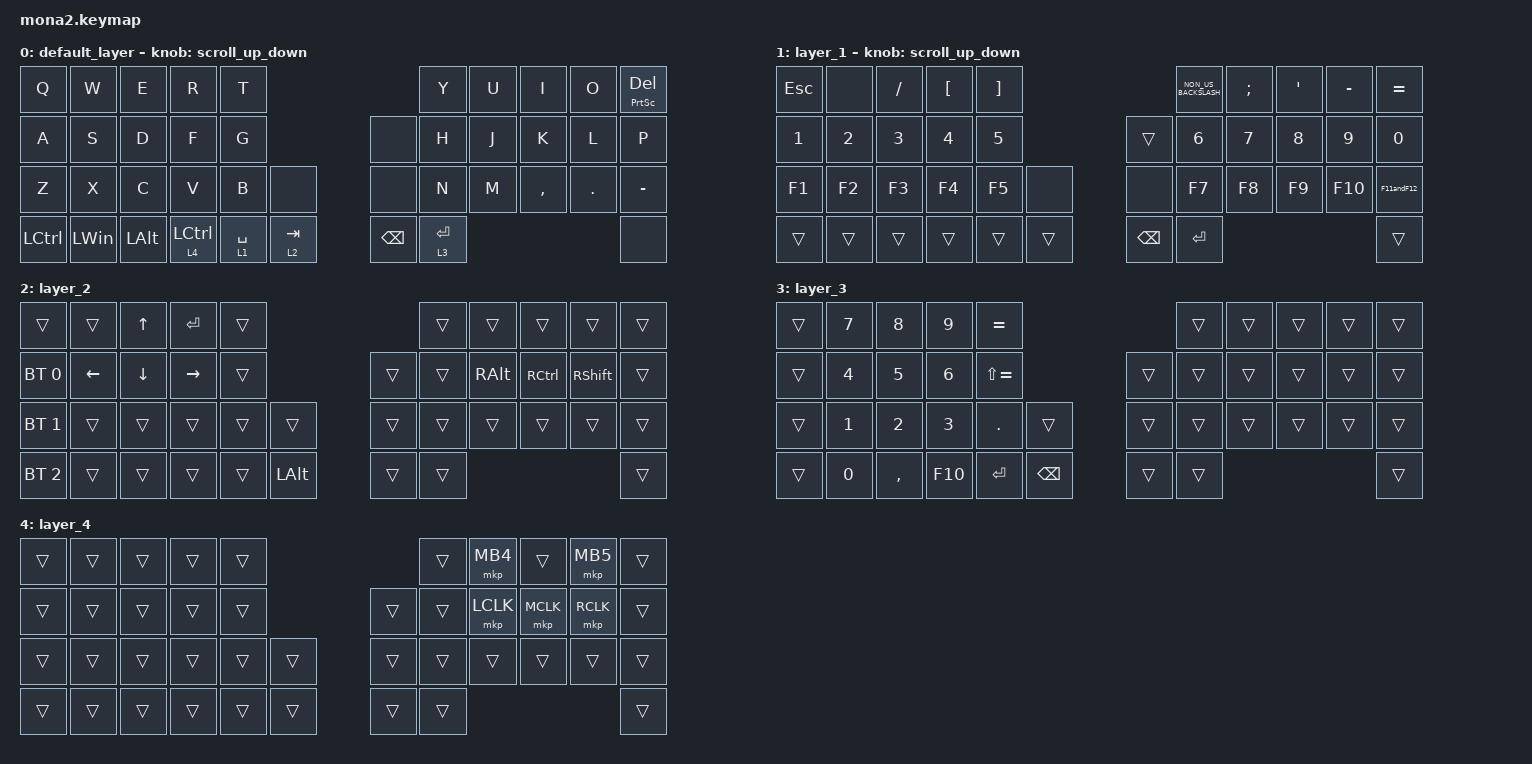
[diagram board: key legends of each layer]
#include <input/processors.dtsi>
#include <dt-bindings/zmk/input_transform.h>
#include <zephyr/dt-bindings/input/input-event-codes.h>
#include <behaviors.dtsi>
#include <dt-bindings/zmk/bt.h>
#include <dt-bindings/zmk/keys.h>
#include <dt-bindings/zmk/pointing.h>

#define ZMK_POINTING_DEFAULT_SCRL_VAL 100
#define MOUSE 5
#define SCROLL 6

&mt {
    flavor = "balanced";
    quick-tap-ms = <0>;
};

&lt {
    quick-tap-ms = <300>;
    flavor = "balanced";
};

/ {
    combos {
        compatible = "zmk,combos";

        leftctrl {
            bindings = <&kp LCTRL>;
            key-positions = <13 12>;
        };

        leftshift {
            bindings = <&kp LEFT_SHIFT>;
            key-positions = <11 12>;
        };

        rightctrl {
            bindings = <&kp RCTRL>;
            key-positions = <17 18>;
        };

        rightshift {
            bindings = <&kp RIGHT_SHIFT>;
            key-positions = <18 19>;
        };

        henkann {
            bindings = <&kp LS(CAPSLOCK)>;
            key-positions = <10 21>;
        };

        henkan2 {
            bindings = <&kp RS(CAPSLOCK)>;
            key-positions = <10 32>;
        };
    };

    behaviors {
        scroll_up_down: mouse_wheel_up_down {
            compatible = "zmk,behavior-sensor-rotate";
            #sensor-binding-cells = <0>;
            bindings = <&msc SCRL_DOWN>, <&msc SCRL_UP>;

            tap-ms = <20>;
        };

        scroll_right_left: mouse_wheel_right_left {
            compatible = "zmk,behavior-sensor-rotate";
            #sensor-binding-cells = <0>;
            bindings = <&msc SCRL_LEFT>, <&msc SCRL_RIGHT>;

            tap-ms = <20>;
        };

        F11andF12: F11andF12 {
            compatible = "zmk,behavior-tap-dance";
            label = "F11ANDF12";
            #binding-cells = <0>;
            tapping-term-ms = <250>;
            bindings = <&kp F11>, <&kp F12>;
        };
    };

    keymap {
        compatible = "zmk,keymap";

        default_layer {
            bindings = <
&kp Q      &kp W         &kp E         &kp R        &kp T                                    &kp Y        &kp U  &kp I      &kp O    &mt PRINTSCREEN DELETE
&kp A      &kp S         &kp D         &kp F        &kp G                     &none          &kp H        &kp J  &kp K      &kp L    &kp P
&kp Z      &kp X         &kp C         &kp V        &kp B        &none        &none          &kp N        &kp M  &kp COMMA  &kp DOT  &kp MINUS
&kp LCTRL  &kp LEFT_WIN  &kp LEFT_ALT  &lt 4 LCTRL  &lt 1 SPACE  &lt 2 TAB    &kp BACKSPACE  &lt 3 ENTER                             &none
            >;

            sensor-bindings = <&scroll_up_down>;
        };

        layer_1 {
            bindings = <
&kp ESCAPE    &none         &kp SLASH     &kp LEFT_BRACKET  &kp RIGHT_BRACKET                           &kp NON_US_BACKSLASH  &kp SEMICOLON  &kp SQT  &kp MINUS  &kp EQUAL
&kp NUMBER_1  &kp NUMBER_2  &kp NUMBER_3  &kp NUMBER_4      &kp N5                       &trans         &kp NUMBER_6          &kp N7         &kp N8   &kp N9     &kp N0
&kp F1        &kp F2        &kp F3        &kp F4            &kp F5             &none     &none          &kp F7                &kp F8         &kp F9   &kp F10    &F11andF12
&trans        &trans        &trans        &trans            &trans             &trans    &kp BACKSPACE  &kp ENTER                                                &trans
            >;

            sensor-bindings = <&scroll_up_down>;
        };

        layer_2 {
            bindings = <
&trans        &trans    &kp UP_ARROW  &kp ENTER        &trans                          &trans  &trans         &trans     &trans           &trans
&bt BT_SEL 0  &kp LEFT  &kp DOWN      &kp RIGHT_ARROW  &trans                  &trans  &trans  &kp RIGHT_ALT  &kp RCTRL  &kp RIGHT_SHIFT  &trans
&bt BT_SEL 1  &trans    &trans        &trans           &trans  &trans          &trans  &trans  &trans         &trans     &trans           &trans
&bt BT_SEL 2  &trans    &trans        &trans           &trans  &kp LEFT_ALT    &trans  &trans                                             &trans
            >;
        };

        layer_3 {
            bindings = <
&trans  &kp N7        &kp N8        &kp N9        &kp EQUAL                               &trans  &trans  &trans  &trans  &trans
&trans  &kp NUMBER_4  &kp N5        &kp NUMBER_6  &kp LS(EQUAL)                   &trans  &trans  &trans  &trans  &trans  &trans
&trans  &kp NUMBER_1  &kp NUMBER_2  &kp NUMBER_3  &kp PERIOD     &trans           &trans  &trans  &trans  &trans  &trans  &trans
&trans  &kp N0        &kp COMMA     &kp F10       &kp ENTER      &kp BACKSPACE    &trans  &trans                          &trans
            >;
        };

        layer_4 {
            bindings = <
&trans  &trans  &trans  &trans  &trans                    &trans  &mkp MB4   &trans     &mkp MB5   &trans
&trans  &trans  &trans  &trans  &trans            &trans  &trans  &mkp LCLK  &mkp MCLK  &mkp RCLK  &trans
&trans  &trans  &trans  &trans  &trans  &trans    &trans  &trans  &trans     &trans     &trans     &trans
&trans  &trans  &trans  &trans  &trans  &trans    &trans  &trans                                   &trans
            >;
        };
    };
};
